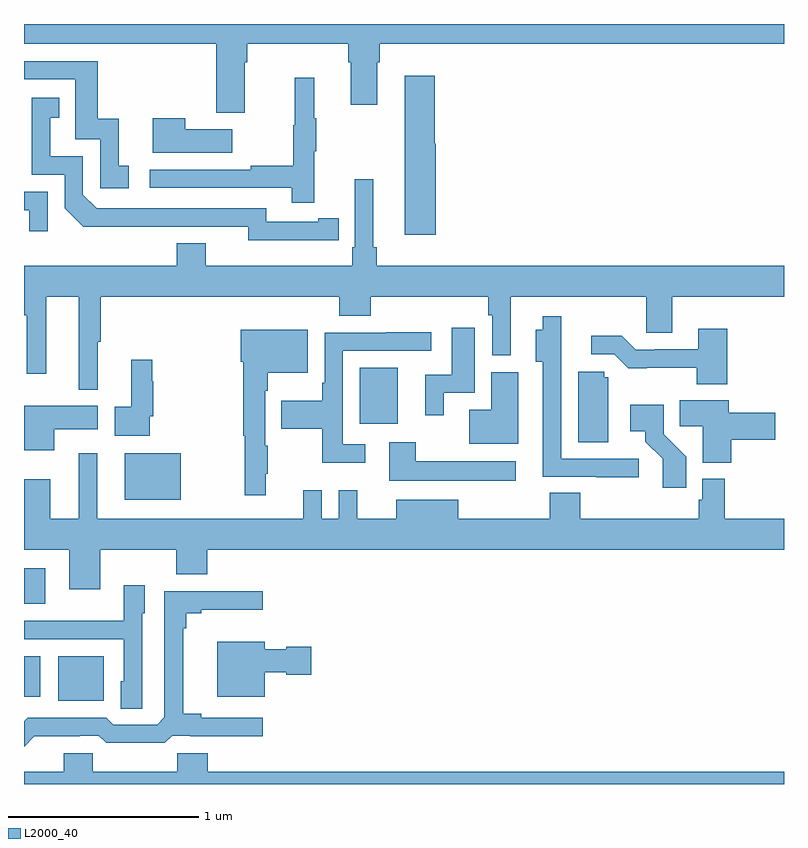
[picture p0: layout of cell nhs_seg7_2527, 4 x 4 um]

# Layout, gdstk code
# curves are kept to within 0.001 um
import gdstk
lib = gdstk.Library(unit=1e-6, precision=1e-09)
def R(c, l, rs):  # rectangles x0, y0, x1, y1
    for r in rs: c.add(gdstk.rectangle(r[:2], r[2:], *l))
def P(c, l, *ps):  # polygons
    for p in ps: c.add(gdstk.Polygon(p, *l))
L2000_40 = (2000, 40)

nhs_seg7_2527 = lib.new_cell('nhs_seg7_2527')
R(nhs_seg7_2527, L2000_40, [(275.18,1050.437,275.419,1050.673), (275,1050.458,275.086,1050.673), (275,1050.948,275.113,1051.135), (275.531,1051.496,275.824,1051.741), (276.767,1051.895,276.967,1052.191)])
P(nhs_seg7_2527, L2000_40, [(279,1054),(275,1054),(275,1053.896),(276.011,1053.896),(276.011,1053.534),(276.163,1053.534),(276.163,1053.8),(276.176,1053.8),(276.176,1053.896),(276.707,1053.896),(276.707,1053.8),(276.719,1053.8),(276.719,1053.576),(276.859,1053.576),(276.859,1053.8),(276.872,1053.8),(276.872,1053.896),(279,1053.896)],
  [(275.551,1053.255),(275.498,1053.255),(275.498,1053.502),(275.387,1053.502),(275.387,1053.804),(275,1053.804),(275,1053.708),(275.271,1053.708),(275.271,1053.393),(275.4,1053.393),(275.4,1053.135),(275.551,1053.135)],
  [(277.168,1053.369),(277.163,1053.369),(277.163,1053.727),(277.004,1053.727),(277.004,1052.892),(277.168,1052.892)],
  [(276.527,1053.331),(276.538,1053.331),(276.538,1053.505),(276.527,1053.505),(276.527,1053.718),(276.424,1053.718),(276.424,1053.468),(276.417,1053.468),(276.417,1053.254),(276.193,1053.254),(276.193,1053.234),(275.661,1053.234),(275.661,1053.138),(276.409,1053.138),(276.409,1053.06),(276.527,1053.06)],
  [(276.548,1052.862),(276.656,1052.862),(276.656,1052.978),(276.548,1052.978),(276.548,1052.958),(276.276,1052.958),(276.276,1053.03),(275.382,1053.03),(275.31,1053.102),(275.31,1053.303),(275.137,1053.303),(275.137,1053.507),(275.186,1053.507),(275.186,1053.613),(275.04,1053.613),(275.04,1053.207),(275.214,1053.207),(275.214,1053.03),(275.312,1052.933),(276.18,1052.934),(276.18,1052.861)],
  [(276.097,1053.445),(275.849,1053.445),(275.849,1053.505),(275.678,1053.505),(275.678,1053.323),(276.097,1053.323)],
  [(275.387,1052.328),(275.405,1052.328),(275.405,1052.564),(276.659,1052.564),(276.659,1052.465),(276.824,1052.465),(276.824,1052.564),(277.444,1052.564),(277.444,1052.468),(277.464,1052.468),(277.464,1052.256),(277.561,1052.256),(277.561,1052.564),(278.274,1052.564),(278.274,1052.374),(278.413,1052.374),(278.413,1052.564),(279,1052.564),(279,1052.728),(276.857,1052.728),(276.857,1052.824),(276.838,1052.824),(276.838,1053.184),(276.741,1053.184),(276.741,1052.824),(276.728,1052.824),(276.728,1052.728),(275.956,1052.728),(275.956,1052.845),(275.804,1052.845),(275.804,1052.728),(275,1052.728),(275,1052.468),(275.014,1052.468),(275.014,1052.16),(275.116,1052.16),(275.116,1052.564),(275.288,1052.564),(275.288,1052.076),(275.387,1052.076)],
  [(275.124,1053.117),(275,1053.117),(275,1053.021),(275.027,1053.021),(275.027,1052.91),(275.124,1052.91)],
  [(278.236,1051.713),(277.827,1051.713),(277.827,1052.238),(277.828,1052.238),(277.828,1052.461),(277.73,1052.461),(277.73,1052.392),(277.694,1052.392),(277.694,1052.222),(277.73,1052.222),(277.73,1051.617),(278.011,1051.617),(278.011,1051.615),(278.236,1051.615)],
  [(277.21,1052.058),(277.372,1052.058),(277.372,1052.401),(277.25,1052.401),(277.25,1052.154),(277.112,1052.154),(277.112,1051.941),(277.21,1051.941)],
  [(278.702,1052.395),(278.549,1052.395),(278.549,1052.289),(278.32,1052.289),(278.32,1052.286),(278.22,1052.286),(278.147,1052.359),(277.986,1052.359),(277.986,1052.262),(278.106,1052.262),(278.179,1052.189),(278.542,1052.19),(278.542,1052.105),(278.702,1052.105)],
  [(276.272,1051.633),(276.283,1051.633),(276.283,1051.781),(276.27,1051.781),(276.27,1052.069),(276.283,1052.069),(276.283,1052.165),(276.493,1052.165),(276.493,1052.392),(276.14,1052.392),(276.14,1052.222),(276.154,1052.222),(276.154,1051.833),(276.162,1051.833),(276.162,1051.521),(276.272,1051.521)],
  [(276.796,1051.788),(276.678,1051.788),(276.678,1052.28),(277.144,1052.28),(277.144,1052.378),(276.907,1052.378),(276.907,1052.376),(276.582,1052.376),(276.582,1052.113),(276.57,1052.113),(276.57,1052.017),(276.355,1052.017),(276.355,1051.87),(276.57,1051.87),(276.57,1051.691),(276.796,1051.691)],
  [(275.661,1051.936),(275.681,1051.936),(275.681,1052.12),(275.674,1052.12),(275.674,1052.233),(275.564,1052.233),(275.564,1051.985),(275.478,1051.985),(275.478,1051.832),(275.661,1051.832)],
  [(278.074,1052.142),(278.055,1052.142),(278.055,1052.169),(277.916,1052.169),(277.916,1051.798),(278.074,1051.798)],
  [(277.6,1052.167),(277.46,1052.167),(277.46,1051.969),(277.343,1051.969),(277.343,1051.79),(277.6,1051.79)],
  [(278.723,1051.813),(278.953,1051.813),(278.953,1051.955),(278.71,1051.955),(278.71,1052.02),(278.452,1052.02),(278.452,1051.882),(278.573,1051.882),(278.573,1051.691),(278.723,1051.691)],
  [(278.486,1051.722),(278.367,1051.841),(278.367,1051.996),(278.19,1051.996),(278.19,1051.856),(278.27,1051.856),(278.27,1051.801),(278.361,1051.711),(278.361,1051.56),(278.486,1051.56)],
  [(275.158,1051.868),(275.389,1051.868),(275.389,1051.99),(275,1051.99),(275,1051.757),(275.158,1051.757)],
  [(277.588,1051.699),(277.063,1051.699),(277.063,1051.798),(276.923,1051.798),(276.923,1051.595),(277.588,1051.595)],
  [(275.401,1051.232),(275.801,1051.232),(275.801,1051.104),(275.965,1051.104),(275.965,1051.232),(279,1051.232),(279,1051.396),(278.687,1051.396),(278.687,1051.606),(278.571,1051.606),(278.571,1051.497),(278.551,1051.497),(278.551,1051.396),(277.928,1051.396),(277.928,1051.532),(277.768,1051.532),(277.768,1051.396),(277.285,1051.396),(277.285,1051.495),(276.959,1051.495),(276.959,1051.396),(276.755,1051.396),(276.755,1051.546),(276.657,1051.546),(276.657,1051.396),(276.567,1051.396),(276.567,1051.546),(276.47,1051.546),(276.47,1051.396),(275.386,1051.396),(275.386,1051.741),(275.288,1051.741),(275.288,1051.396),(275.137,1051.396),(275.137,1051.603),(275,1051.603),(275,1051.232),(275.237,1051.232),(275.237,1051.026),(275.401,1051.026)],
  [(275.622,1050.9),(275.635,1050.9),(275.635,1051.045),(275.526,1051.045),(275.526,1050.859),(275.209,1050.859),(275.209,1050.858),(275,1050.858),(275,1050.762),(275.526,1050.762),(275.526,1050.54),(275.51,1050.54),(275.51,1050.397),(275.622,1050.397)],
  [(275.054,1050.251),(275.294,1050.251),(275.294,1050.255),(275.394,1050.255),(275.434,1050.216),(275.741,1050.216),(275.781,1050.255),(275.875,1050.255),(275.875,1050.251),(276.256,1050.251),(276.256,1050.348),(275.932,1050.348),(275.932,1050.371),(275.837,1050.371),(275.837,1050.821),(275.855,1050.821),(275.855,1050.898),(275.932,1050.898),(275.932,1050.917),(276.256,1050.917),(276.256,1051.014),(275.739,1051.014),(275.739,1050.351),(275.7,1050.312),(275.469,1050.312),(275.433,1050.348),(275.019,1050.348),(275,1050.329),(275,1050.197)],
  [(276.268,1050.587),(276.381,1050.587),(276.381,1050.575),(276.511,1050.575),(276.511,1050.722),(276.381,1050.722),(276.381,1050.709),(276.268,1050.709),(276.268,1050.748),(276.017,1050.748),(276.017,1050.458),(276.268,1050.458)],
  [(279,1050.064),(275.966,1050.064),(275.966,1050.162),(275.806,1050.162),(275.806,1050.064),(275.361,1050.064),(275.361,1050.162),(275.21,1050.162),(275.21,1050.064),(275,1050.064),(275,1050),(279,1050)])

lib.write_gds('nhs_seg7_2527.gds')
